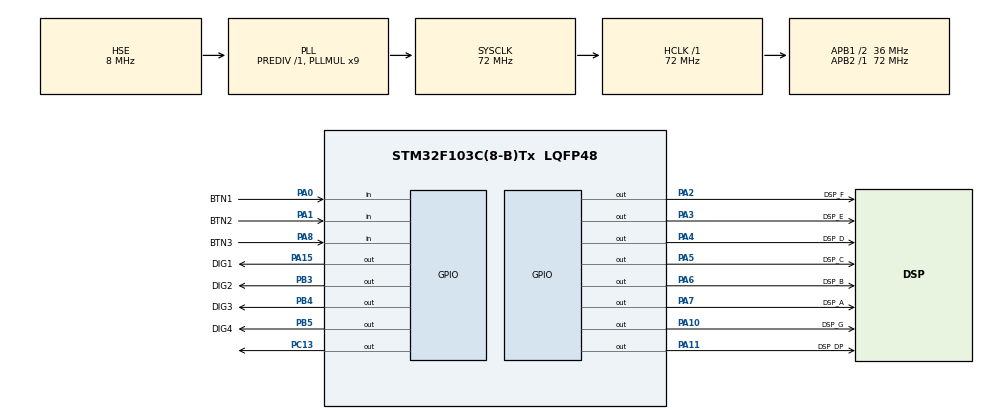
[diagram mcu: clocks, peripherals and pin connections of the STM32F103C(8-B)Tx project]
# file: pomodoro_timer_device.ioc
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Mcu.Family=STM32F1
Mcu.Name=STM32F103C(8-B)Tx
Mcu.Package=LQFP48
NVIC.PriorityGroup=NVIC_PRIORITYGROUP_4
NVIC.TIM2_IRQn=true\:0\:0\:false\:false\:true\:true\:true\:true
PA0-WKUP.GPIO_Label=BTN1
PA0-WKUP.GPIO_PuPd=GPIO_PULLDOWN
PA0-WKUP.Signal=GPIO_Input
PA1.GPIO_Label=BTN2
PA1.GPIO_PuPd=GPIO_PULLDOWN
PA1.Signal=GPIO_Input
PA10.GPIO_Label=DSP_G
PA10.Signal=GPIO_Output
PA11.GPIO_Label=DSP_DP
PA11.Signal=GPIO_Output
PA13.Mode=Serial_Wire
PA13.Signal=SYS_JTMS-SWDIO
PA14.Mode=Serial_Wire
PA14.Signal=SYS_JTCK-SWCLK
PA15.GPIO_Label=DIG1
PA15.Signal=GPIO_Output
PA2.GPIO_Label=DSP_F
PA2.Signal=GPIO_Output
PA3.GPIO_Label=DSP_E
PA3.Signal=GPIO_Output
PA4.GPIO_Label=DSP_D
PA4.Signal=GPIO_Output
PA5.GPIO_Label=DSP_C
PA5.Signal=GPIO_Output
PA6.GPIO_Label=DSP_B
PA6.Signal=GPIO_Output
PA7.GPIO_Label=DSP_A
PA7.Signal=GPIO_Output
PA8.GPIO_Label=BTN3
PA8.GPIO_PuPd=GPIO_PULLDOWN
PA8.Signal=GPIO_Input
PB3.GPIO_Label=DIG2
PB3.Signal=GPIO_Output
PB4.GPIO_Label=DIG3
PB4.Signal=GPIO_Output
PB5.GPIO_Label=DIG4
PB5.Signal=GPIO_Output
PC13-TAMPER-RTC.Signal=GPIO_Output
PD0-OSC_IN.Mode=HSE-External-Oscillator
PD0-OSC_IN.Signal=RCC_OSC_IN
PD1-OSC_OUT.Mode=HSE-External-Oscillator
PD1-OSC_OUT.Signal=RCC_OSC_OUT
ProjectManager.HeapSize=0x200
ProjectManager.StackSize=0x400
ProjectManager.TargetToolchain=STM32CubeIDE
RCC.AHBFreq_Value=72000000
RCC.APB1CLKDivider=RCC_HCLK_DIV2
RCC.APB1Freq_Value=36000000
RCC.APB1TimFreq_Value=72000000
RCC.APB2Freq_Value=72000000
RCC.APB2TimFreq_Value=72000000
RCC.HCLKFreq_Value=72000000
RCC.PLLMUL=RCC_PLL_MUL9
RCC.PLLSourceVirtual=RCC_PLLSOURCE_HSE
RCC.SYSCLKFreq_VALUE=72000000
RCC.SYSCLKSource=RCC_SYSCLKSOURCE_PLLCLK
RCC.USBFreq_Value=72000000
TIM2.ClockDivision=TIM_CLOCKDIVISION_DIV2
TIM2.Period=999
TIM2.Prescaler=71
VP_TIM2_VS_ClockSourceINT.Mode=Internal
board=custom

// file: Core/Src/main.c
/* USER CODE BEGIN Header */
/**
  ******************************************************************************
  * @file           : main.c
  * @brief          : Main program body
  ******************************************************************************
  * @attention
  *
  * Copyright (c) 2026 STMicroelectronics.
  * All rights reserved.
  *
  * This software is licensed under terms that can be found in the LICENSE file
  * in the root directory of this software component.
  * If no LICENSE file comes with this software, it is provided AS-IS.
  *
  ******************************************************************************
  */
/* USER CODE END Header */
#include "main.h"

/* USER CODE BEGIN Includes */
#include "button.h"

/* USER CODE END Includes */

/* USER CODE BEGIN PTD */
typedef enum {
    IDLE,
    WORK,
    SHORT_BREAK,
    LONG_BREAK,
    PAUSED
} PomodoroState;

typedef enum {
    EVENT_START,
    EVENT_PAUSE,
    EVENT_RESUME,
    EVENT_TIMEOUT,
    EVENT_RESET,
    EVENT_SKIP
} PomodoroEvent;

/* USER CODE END PTD */

TIM_HandleTypeDef htim2;

/* USER CODE BEGIN PV */
volatile uint8_t time_running = 0;
volatile uint32_t ms_counter = 0;
volatile uint32_t seconds = 0;
volatile uint32_t minutes = 0;

uint8_t idle_position = 0;
uint16_t idle_animation_counter = 0;

uint16_t paused_animation_counter = 0;

typedef struct {
	uint32_t goal;
	uint32_t pause_goal;
	uint32_t long_pause_goal;
	uint32_t session_number;
} PomodoroSession;

volatile uint8_t current_digit = 0;
uint8_t display_buffer[4] = {0, 0, 0, 0};

const uint8_t digit_segments[10] = {
	//GFEDCBA pattern
    0x3F, // 0: ABCDEF
    0x06, // 1: BC
    0x5B, // 2: ABDEG
    0x4F, // 3: ABCDG
    0x66, // 4: BCFG
    0x6D, // 5: ACDFG
    0x7D, // 6: ACDEFG
    0x07, // 7: ABC
    0x7F, // 8: ABCDEFG
    0x6F  // 9: ABCDFG
};

PomodoroState state = WORK;
PomodoroSession session = {
	.goal = 25 * 60,
	.pause_goal = 5 * 60,
	.long_pause_goal = 10 * 60,
	.session_number = 4
};

typedef struct {
    uint8_t digit;
    uint8_t segment;
} AnimationFrame;

const AnimationFrame perimeter_animation[] = {
    {0, 0},  // DIG1 A
    {1, 0},  // DIG2 A
    {2, 0},  // DIG3 A
    {3, 0},  // DIG4 A
    {3, 1},  // DIG4 B
    {3, 2},  // DIG4 C
    {3, 3},  // DIG4 D
    {2, 3},  // DIG3 D
    {1, 3},  // DIG2 D
    {0, 3},  // DIG1 D
    {0, 4},  // DIG1 E
    {0, 5}   // DIG1 F
};

Button start_button = {GPIO_PIN_RESET, GPIO_PIN_RESET, 0};
Button reset_button = {GPIO_PIN_RESET, GPIO_PIN_RESET, 0};
Button mode_button  = {GPIO_PIN_RESET, GPIO_PIN_RESET, 0};
/* USER CODE END PV */

void SystemClock_Config(void);
static void MX_GPIO_Init(void);
static void MX_TIM2_Init(void);
/* USER CODE BEGIN PFP */
void Display_SetSegments(uint8_t pattern);
void reset_display_buffer();
void Display_UpdateBuffer(uint32_t seconds);
void Display_Scan(void);

/* USER CODE END PFP */

int main(void)
{

  /* MCU Configuration--------------------------------------------------------*/

  /* Reset of all peripherals, Initializes the Flash interface and the Systick. */
  HAL_Init();

  /* Configure the system clock */
  SystemClock_Config();

  /* Initialize all configured peripherals */
  MX_GPIO_Init();
  MX_TIM2_Init();
  /* USER CODE BEGIN 2 */
  HAL_TIM_Base_Start_IT(&htim2);

  uint32_t current_session_number = 0;
  PomodoroState last_state;

  /* USER CODE END 2 */

  /* Infinite loop */
  while (1)
  {

    /* USER CODE BEGIN 3 */
	switch (state)
	{
		case IDLE:
			// Waiting for user to press Start
			time_running = 0;
			break;

		case WORK:
			// Run work timer
			time_running = 1;
			if (seconds >= session.goal) {
				current_session_number++;
				seconds = 0;
				if (current_session_number == session.session_number) {
					current_session_number = 0;
					state = LONG_BREAK;
				} else {
					state = SHORT_BREAK;
				}
			}
			break;

		case SHORT_BREAK:
			// Run short break timer
			time_running = 1;
			if (seconds >= session.pause_goal) {
				seconds = 0;
				state = WORK;
			}

			break;

		case LONG_BREAK:
			// Run long break timer
			time_running = 1;
			if (seconds >= session.long_pause_goal) {
				seconds = 0;
				state = WORK;
			}
			break;

		case PAUSED:
			// Keep timer stopped
			time_running = 0;
			break;

		default:
			break;
	}

	Display_UpdateBuffer(seconds);

	if (Button_Pressed(BTN1_GPIO_Port, BTN1_Pin, &reset_button)) {
		HAL_GPIO_TogglePin(GPIOC, GPIO_PIN_13);
		seconds = 0;
		state = WORK;
	}
	if (Button_Pressed(BTN2_GPIO_Port, BTN2_Pin, &start_button)) {
		if (state != PAUSED) {
			last_state = state;
			state = PAUSED;
		} else {
			state = last_state;
		}
	}
  }
  /* USER CODE END 3 */
}

void SystemClock_Config(void)
{
  RCC_OscInitTypeDef RCC_OscInitStruct = {0};
  RCC_ClkInitTypeDef RCC_ClkInitStruct = {0};

  /** Initializes the RCC Oscillators according to the specified parameters
  * in the RCC_OscInitTypeDef structure.
  */
  RCC_OscInitStruct.OscillatorType = RCC_OSCILLATORTYPE_HSE;
  RCC_OscInitStruct.HSEState = RCC_HSE_ON;
  RCC_OscInitStruct.HSEPredivValue = RCC_HSE_PREDIV_DIV1;
  RCC_OscInitStruct.HSIState = RCC_HSI_ON;
  RCC_OscInitStruct.PLL.PLLState = RCC_PLL_ON;
  RCC_OscInitStruct.PLL.PLLSource = RCC_PLLSOURCE_HSE;
  RCC_OscInitStruct.PLL.PLLMUL = RCC_PLL_MUL9;
  if (HAL_RCC_OscConfig(&RCC_OscInitStruct) != HAL_OK)
  {
    Error_Handler();
  }

  /** Initializes the CPU, AHB and APB buses clocks
  */
  RCC_ClkInitStruct.ClockType = RCC_CLOCKTYPE_HCLK|RCC_CLOCKTYPE_SYSCLK
                              |RCC_CLOCKTYPE_PCLK1|RCC_CLOCKTYPE_PCLK2;
  RCC_ClkInitStruct.SYSCLKSource = RCC_SYSCLKSOURCE_PLLCLK;
  RCC_ClkInitStruct.AHBCLKDivider = RCC_SYSCLK_DIV1;
  RCC_ClkInitStruct.APB1CLKDivider = RCC_HCLK_DIV2;
  RCC_ClkInitStruct.APB2CLKDivider = RCC_HCLK_DIV1;

  if (HAL_RCC_ClockConfig(&RCC_ClkInitStruct, FLASH_LATENCY_2) != HAL_OK)
  {
    Error_Handler();
  }
}

static void MX_TIM2_Init(void)
{

  TIM_ClockConfigTypeDef sClockSourceConfig = {0};
  TIM_MasterConfigTypeDef sMasterConfig = {0};

  htim2.Instance = TIM2;
  htim2.Init.Prescaler = 71;
  htim2.Init.CounterMode = TIM_COUNTERMODE_UP;
  htim2.Init.Period = 999;
  htim2.Init.ClockDivision = TIM_CLOCKDIVISION_DIV2;
  htim2.Init.AutoReloadPreload = TIM_AUTORELOAD_PRELOAD_DISABLE;
  if (HAL_TIM_Base_Init(&htim2) != HAL_OK)
  {
    Error_Handler();
  }
  sClockSourceConfig.ClockSource = TIM_CLOCKSOURCE_INTERNAL;
  if (HAL_TIM_ConfigClockSource(&htim2, &sClockSourceConfig) != HAL_OK)
  {
    Error_Handler();
  }
  sMasterConfig.MasterOutputTrigger = TIM_TRGO_RESET;
  sMasterConfig.MasterSlaveMode = TIM_MASTERSLAVEMODE_DISABLE;
  if (HAL_TIMEx_MasterConfigSynchronization(&htim2, &sMasterConfig) != HAL_OK)
  {
    Error_Handler();
  }

}

static void MX_GPIO_Init(void)
{
  GPIO_InitTypeDef GPIO_InitStruct = {0};

  /* GPIO Ports Clock Enable */
  __HAL_RCC_GPIOC_CLK_ENABLE();
  __HAL_RCC_GPIOD_CLK_ENABLE();
  __HAL_RCC_GPIOA_CLK_ENABLE();
  __HAL_RCC_GPIOB_CLK_ENABLE();

  /*Configure GPIO pin Output Level */
  HAL_GPIO_WritePin(GPIOC, GPIO_PIN_13, GPIO_PIN_RESET);

  /*Configure GPIO pin Output Level */
  HAL_GPIO_WritePin(GPIOA, DSP_F_Pin|DSP_E_Pin|DSP_D_Pin|DSP_C_Pin
                          |DSP_B_Pin|DSP_A_Pin|DSP_G_Pin|DSP_DP_Pin
                          |DIG1_Pin, GPIO_PIN_RESET);

  /*Configure GPIO pin Output Level */
  HAL_GPIO_WritePin(GPIOB, DIG2_Pin|DIG3_Pin|DIG4_Pin, GPIO_PIN_RESET);

  /*Configure GPIO pin : PC13 */
  GPIO_InitStruct.Pin = GPIO_PIN_13;
  GPIO_InitStruct.Mode = GPIO_MODE_OUTPUT_PP;
  GPIO_InitStruct.Pull = GPIO_NOPULL;
  GPIO_InitStruct.Speed = GPIO_SPEED_FREQ_LOW;
  HAL_GPIO_Init(GPIOC, &GPIO_InitStruct);

  /*Configure GPIO pins : BTN1_Pin BTN2_Pin BTN3_Pin */
  GPIO_InitStruct.Pin = BTN1_Pin|BTN2_Pin|BTN3_Pin;
  GPIO_InitStruct.Mode = GPIO_MODE_INPUT;
  GPIO_InitStruct.Pull = GPIO_PULLDOWN;
  HAL_GPIO_Init(GPIOA, &GPIO_InitStruct);

  /*Configure GPIO pins : DSP_F_Pin DSP_E_Pin DSP_D_Pin DSP_C_Pin
                           DSP_B_Pin DSP_A_Pin DSP_G_Pin DSP_DP_Pin
                           DIG1_Pin */
  GPIO_InitStruct.Pin = DSP_F_Pin|DSP_E_Pin|DSP_D_Pin|DSP_C_Pin
                          |DSP_B_Pin|DSP_A_Pin|DSP_G_Pin|DSP_DP_Pin
                          |DIG1_Pin;
  GPIO_InitStruct.Mode = GPIO_MODE_OUTPUT_PP;
  GPIO_InitStruct.Pull = GPIO_NOPULL;
  GPIO_InitStruct.Speed = GPIO_SPEED_FREQ_LOW;
  HAL_GPIO_Init(GPIOA, &GPIO_InitStruct);

  /*Configure GPIO pins : DIG2_Pin DIG3_Pin DIG4_Pin */
  GPIO_InitStruct.Pin = DIG2_Pin|DIG3_Pin|DIG4_Pin;
  GPIO_InitStruct.Mode = GPIO_MODE_OUTPUT_PP;
  GPIO_InitStruct.Pull = GPIO_NOPULL;
  GPIO_InitStruct.Speed = GPIO_SPEED_FREQ_LOW;
  HAL_GPIO_Init(GPIOB, &GPIO_InitStruct);

}

/* USER CODE BEGIN 4 */
void Display_UpdateBuffer(uint32_t seconds)
{
    uint32_t min = (seconds / 60) % 100;
    uint32_t sec = seconds % 60;

    display_buffer[0] = min / 10;
    display_buffer[1] = min % 10;
    display_buffer[2] = sec / 10;
    display_buffer[3] = sec % 10;
}

void Display_Scan(void)
{
    // 2. Disable all digits
	HAL_GPIO_WritePin(DIG1_GPIO_Port, DIG1_Pin, GPIO_PIN_RESET);
	HAL_GPIO_WritePin(DIG2_GPIO_Port, DIG2_Pin, GPIO_PIN_RESET);
	HAL_GPIO_WritePin(DIG3_GPIO_Port, DIG3_Pin, GPIO_PIN_RESET);
	HAL_GPIO_WritePin(DIG4_GPIO_Port, DIG4_Pin, GPIO_PIN_RESET);

	// 3. Set segments for current digit
	if (state == IDLE)
	{
	    if (current_digit == perimeter_animation[idle_position].digit)
	    {
	        Display_SetSegments(1U << perimeter_animation[idle_position].segment);
	    }
	    else
	    {
	        Display_SetSegments(0);
	    }
	}
	else
	{
	    Display_SetSegments(digit_segments[display_buffer[current_digit]]);
	}

	// 4. Enable selected digit
	switch (current_digit)
	{
		case 0:
			HAL_GPIO_WritePin(DIG1_GPIO_Port, DIG1_Pin, GPIO_PIN_SET);
			break;

		case 1:
			HAL_GPIO_WritePin(DIG2_GPIO_Port, DIG2_Pin, GPIO_PIN_SET);
			break;

		case 2:
			HAL_GPIO_WritePin(DIG3_GPIO_Port, DIG3_Pin, GPIO_PIN_SET);
			break;

		case 3:
			HAL_GPIO_WritePin(DIG4_GPIO_Port, DIG4_Pin, GPIO_PIN_SET);
			break;
	}
	current_digit = (current_digit + 1) % 4;
}

void Display_IdleAnimationUpdate(void)
{
    idle_animation_counter++;

    if (idle_animation_counter >= 150)
    {
        idle_animation_counter = 0;

        idle_position++;

        if (idle_position >= 12)
        {
            idle_position = 0;
        }
    }
}

void reset_display_buffer() {
	for (int i = 0; i < 4; i++) {
		display_buffer[i] = 0;
	}
}
void Display_SetSegments(uint8_t pattern)
{
    HAL_GPIO_WritePin(DSP_A_GPIO_Port, DSP_A_Pin,
        (pattern & (1 << 0)) ? GPIO_PIN_SET : GPIO_PIN_RESET);

    HAL_GPIO_WritePin(DSP_B_GPIO_Port, DSP_B_Pin,
        (pattern & (1 << 1)) ? GPIO_PIN_SET : GPIO_PIN_RESET);

    HAL_GPIO_WritePin(DSP_C_GPIO_Port, DSP_C_Pin,
        (pattern & (1 << 2)) ? GPIO_PIN_SET : GPIO_PIN_RESET);

    HAL_GPIO_WritePin(DSP_D_GPIO_Port, DSP_D_Pin,
        (pattern & (1 << 3)) ? GPIO_PIN_SET : GPIO_PIN_RESET);

    HAL_GPIO_WritePin(DSP_E_GPIO_Port, DSP_E_Pin,
        (pattern & (1 << 4)) ? GPIO_PIN_SET : GPIO_PIN_RESET);

    HAL_GPIO_WritePin(DSP_F_GPIO_Port, DSP_F_Pin,
        (pattern & (1 << 5)) ? GPIO_PIN_SET : GPIO_PIN_RESET);

    HAL_GPIO_WritePin(DSP_G_GPIO_Port, DSP_G_Pin,
        (pattern & (1 << 6)) ? GPIO_PIN_SET : GPIO_PIN_RESET);
}

void HAL_TIM_PeriodElapsedCallback(TIM_HandleTypeDef *htim)
{
    if (htim->Instance == TIM2)
    {
    	if (time_running) {
			// 1. Timekeeping
			ms_counter++;

			if (ms_counter >= 50)
			{
				ms_counter = 0;
				seconds++;
			}
		}
    	if (state == IDLE)
    	{
    	    Display_IdleAnimationUpdate();
    	}

		Display_Scan();
    }
}

/* USER CODE END 4 */

void Error_Handler(void)
{
  __disable_irq();
  while (1)
  {
  }
}
